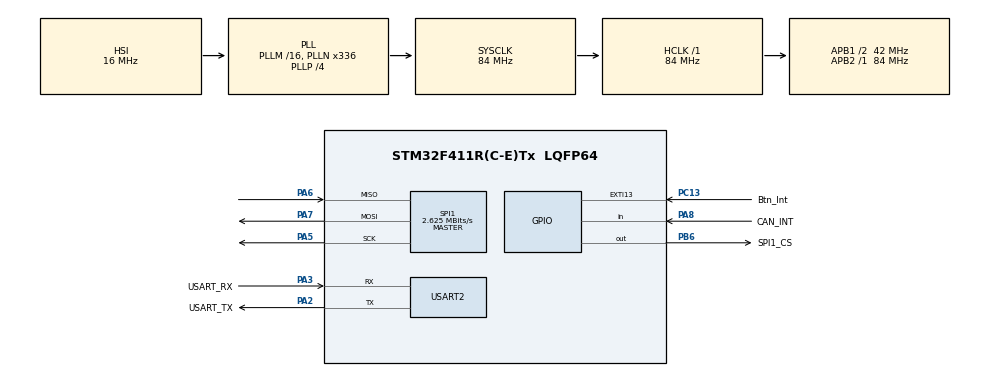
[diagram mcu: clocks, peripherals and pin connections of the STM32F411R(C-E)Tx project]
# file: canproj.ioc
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FREERTOS.INCLUDE_uxTaskGetStackHighWaterMark=1
FREERTOS.INCLUDE_vTaskDelayUntil=1
FREERTOS.Mutexes01=uartMutex,Dynamic,NULL,Available
FREERTOS.Tasks01=defaultTask,0,256,StartDefaultTask,Default,NULL,Dynamic,NULL,NULL;myTask02,1,512,StartTask02,Default,NULL,Dynamic,NULL,NULL;sdCardMsgPost,1,512,StartTask03,Default,NULL,Dynamic,NULL,NULL;messageAvailabl,1,256,StartTask04,Default,NULL,Dynamic,NULL,NULL
FREERTOS.configCHECK_FOR_STACK_OVERFLOW=2
FREERTOS.configUSE_MALLOC_FAILED_HOOK=1
FREERTOS.configUSE_NEWLIB_REENTRANT=1
Mcu.Family=STM32F4
Mcu.Name=STM32F411R(C-E)Tx
Mcu.Package=LQFP64
NVIC.EXTI15_10_IRQn=true\:5\:0\:false\:false\:true\:true\:true\:true\:true
NVIC.PriorityGroup=NVIC_PRIORITYGROUP_4
NVIC.TIM1_UP_TIM10_IRQn=true\:15\:0\:false\:false\:true\:false\:false\:true\:true
NVIC.TimeBase=TIM1_UP_TIM10_IRQn
NVIC.TimeBaseIP=TIM1
PA13.GPIO_Label=TMS
PA13.Mode=Serial_Wire
PA13.Signal=SYS_JTMS-SWDIO
PA14.GPIO_Label=TCK
PA14.Mode=Serial_Wire
PA14.Signal=SYS_JTCK-SWCLK
PA2.GPIO_Label=USART_TX
PA2.Mode=Asynchronous
PA2.Signal=USART2_TX
PA3.GPIO_Label=USART_RX
PA3.Mode=Asynchronous
PA3.Signal=USART2_RX
PA5.Mode=Full_Duplex_Master
PA5.Signal=SPI1_SCK
PA6.Mode=Full_Duplex_Master
PA6.Signal=SPI1_MISO
PA7.Mode=Full_Duplex_Master
PA7.Signal=SPI1_MOSI
PA8.GPIO_Label=CAN_INT
PA8.GPIO_PuPd=GPIO_PULLUP
PA8.Signal=GPIO_Input
PB3.GPIO_Label=SWO
PB3.Signal=SYS_JTDO-SWO
PB6.GPIO_Label=SPI1_CS
PB6.Signal=GPIO_Output
PC13-ANTI_TAMP.GPIO_Label=Btn_Int
PC13-ANTI_TAMP.GPIO_ModeDefaultEXTI=GPIO_MODE_IT_FALLING
PC13-ANTI_TAMP.GPIO_PuPd=GPIO_PULLUP
PC13-ANTI_TAMP.Signal=GPXTI13
PC14-OSC32_IN.Signal=RCC_OSC32_IN
PC15-OSC32_OUT.Signal=RCC_OSC32_OUT
PH0\ -\ OSC_IN.Mode=HSE-External-Oscillator
PH0\ -\ OSC_IN.Signal=RCC_OSC_IN
PH1\ -\ OSC_OUT.Mode=HSE-External-Oscillator
PH1\ -\ OSC_OUT.Signal=RCC_OSC_OUT
ProjectManager.HeapSize=0x200
ProjectManager.StackSize=0x400
ProjectManager.TargetToolchain=STM32CubeIDE
RCC.48MHZClocksFreq_Value=84000000
RCC.AHBFreq_Value=84000000
RCC.APB1CLKDivider=RCC_HCLK_DIV2
RCC.APB1Freq_Value=42000000
RCC.APB1TimFreq_Value=84000000
RCC.APB2Freq_Value=84000000
RCC.APB2TimFreq_Value=84000000
RCC.CortexFreq_Value=84000000
RCC.FLatency-AdvancedSettings=FLASH_LATENCY_2
RCC.HCLKFreq_Value=84000000
RCC.HSE_VALUE=8000000
RCC.HSI_VALUE=16000000
RCC.LSE_VALUE=32768
RCC.PLLN=336
RCC.PLLP=RCC_PLLP_DIV4
RCC.RCC_RTC_Clock_Source_FROM_HSE=RCC_RTCCLKSOURCE_HSE_DIV30
RCC.SYSCLKFreq_VALUE=84000000
RCC.SYSCLKSource=RCC_SYSCLKSOURCE_PLLCLK
RCC.VCOOutputFreq_Value=336000000
SPI1.BaudRatePrescaler=SPI_BAUDRATEPRESCALER_32
SPI1.CalculateBaudRate=2.625 MBits/s
SPI1.Direction=SPI_DIRECTION_2LINES
SPI1.Mode=SPI_MODE_MASTER
SPI1.VirtualType=VM_MASTER
USART2.VirtualMode=VM_ASYNC
VP_FREERTOS_VS_CMSIS_V1.Mode=CMSIS_V1
VP_RTC_VS_RTC_Activate.Mode=RTC_Enabled
VP_SYS_VS_tim1.Mode=TIM1
board=NUCLEO-F411RE

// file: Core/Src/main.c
/* USER CODE BEGIN Header */
//Yasir Ahmad
/**
  ******************************************************************************
  * @file           : main.c
  * @brief          : Main program body
  ******************************************************************************
  * @attention
  *
  * Copyright (c) 2024 STMicroelectronics.
  * All rights reserved.
  *
  * This software is licensed under terms that can be found in the LICENSE file
  * in the root directory of this software component.
  * If no LICENSE file comes with this software, it is provided AS-IS.
  *
  ******************************************************************************
  */
/* USER CODE END Header */
#include "main.h"
#include "cmsis_os.h"

/* USER CODE BEGIN Includes */
#include <stdio.h>
#include <stdbool.h>
#include "queue.h"
#include <string.h>
#include "event_groups.h"

/* USER CODE END Includes */

/* USER CODE BEGIN PD */
#define SPI1_CS_LOW()  HAL_GPIO_WritePin(GPIOB, GPIO_PIN_6, GPIO_PIN_RESET)
#define SPI1_CS_HIGH() HAL_GPIO_WritePin(GPIOB, GPIO_PIN_6, GPIO_PIN_SET)
#define EVENT_BIT_0 (1 << 0)
#define EVENT_BIT_3 (1 << 3)
#define EVENT_BIT_2 (1 << 2)
#define EVENT_BIT_1 (1 << 1)

/* USER CODE END PD */

RTC_HandleTypeDef hrtc;

SPI_HandleTypeDef hspi1;

UART_HandleTypeDef huart2;

osThreadId defaultTaskHandle;
osThreadId myTask02Handle;
osThreadId sdCardMsgPostHandle;
osThreadId messageAvailablHandle;
osMutexId uartMutexHandle;
/* USER CODE BEGIN PV */

EventGroupHandle_t messageToRead;
static StaticTask_t xTimerTaskTCB;
static StackType_t xTimerStack[configTIMER_TASK_STACK_DEPTH];
uint16_t counter = 0;

/* USER CODE END PV */

void SystemClock_Config(void);
static void MX_GPIO_Init(void);
static void MX_USART2_UART_Init(void);
static void MX_SPI1_Init(void);
static void MX_RTC_Init(void);
void StartDefaultTask(void const * argument);
void StartTask02(void const * argument);
void StartTask03(void const * argument);
void StartTask04(void const * argument);

/* USER CODE BEGIN PFP */

//needed for xEventGroupSetBitsFromISR access
void vApplicationGetTimerTaskMemory(StaticTask_t **ppxTimerTaskTCBBuffer,
                                    StackType_t **ppxTimerTaskStackBuffer,
                                    uint32_t *pulTimerTaskStackSize)
{
    *ppxTimerTaskTCBBuffer = &xTimerTaskTCB;              // Provide TCB memory
    *ppxTimerTaskStackBuffer = xTimerStack;               // Provide stack memory
    *pulTimerTaskStackSize = configTIMER_TASK_STACK_DEPTH; // Provide stack size
}

/* USER CODE END PFP */

/* USER CODE BEGIN 0 */

/******QUEUE HANDLER********/
xQueueHandle MessageQueueHandle;

///*****Task Handler******/
//xTaskHandle defaultTaskHandle;
//xTaskHandle myTask02Handle;
//xTaskHandle sdCardMsgPostHandle;
//xTaskHandle messageAvailablHandle;

/* USER CODE END 0 */

int main(void)
{

  /* MCU Configuration--------------------------------------------------------*/

  /* Reset of all peripherals, Initializes the Flash interface and the Systick. */
  HAL_Init();

  /* Configure the system clock */
  SystemClock_Config();

  /* Initialize all configured peripherals */
  MX_GPIO_Init();
  MX_USART2_UART_Init();
  MX_SPI1_Init();
  MX_RTC_Init();

  /* Create the mutex(es) */
  /* definition and creation of uartMutex */
  osMutexDef(uartMutex);
  uartMutexHandle = osMutexCreate(osMutex(uartMutex));

  /* USER CODE BEGIN RTOS_TIMERS */
  messageToRead = xEventGroupCreate();
  /* USER CODE END RTOS_TIMERS */

  /* USER CODE BEGIN RTOS_QUEUES */
  MessageQueueHandle = xQueueCreate(3, sizeof(MessageCAN*));

  if (MessageQueueHandle == 0){
	  print("Error Creating Queue");
	  Error_Handler();
  }
  /* USER CODE END RTOS_QUEUES */

  /* Create the thread(s) */
  /* definition and creation of defaultTask */
  osThreadDef(defaultTask, StartDefaultTask, osPriorityNormal, 0, 256);
  defaultTaskHandle = osThreadCreate(osThread(defaultTask), NULL);

  /* definition and creation of myTask02 */
  osThreadDef(myTask02, StartTask02, osPriorityAboveNormal, 0, 512);
  myTask02Handle = osThreadCreate(osThread(myTask02), NULL);

  /* definition and creation of sdCardMsgPost */
  osThreadDef(sdCardMsgPost, StartTask03, osPriorityAboveNormal, 0, 512);
  sdCardMsgPostHandle = osThreadCreate(osThread(sdCardMsgPost), NULL);

  /* definition and creation of messageAvailabl */
  osThreadDef(messageAvailabl, StartTask04, osPriorityAboveNormal, 0, 256);
  messageAvailablHandle = osThreadCreate(osThread(messageAvailabl), NULL);

  /* USER CODE BEGIN RTOS_THREADS */
  print("MCP2515 init Started");
  mcp2515init();
  TimeInit();
  print("Program Started");  /* USER CODE END RTOS_THREADS */

  /* Start scheduler */
  osKernelStart();

  /* We should never get here as control is now taken by the scheduler */

  /* Infinite loop */
  while (1)
  {

  }
}

void SystemClock_Config(void)
{
  RCC_OscInitTypeDef RCC_OscInitStruct = {0};
  RCC_ClkInitTypeDef RCC_ClkInitStruct = {0};

  /** Configure the main internal regulator output voltage
  */
  __HAL_RCC_PWR_CLK_ENABLE();
  __HAL_PWR_VOLTAGESCALING_CONFIG(PWR_REGULATOR_VOLTAGE_SCALE1);

  /** Initializes the RCC Oscillators according to the specified parameters
  * in the RCC_OscInitTypeDef structure.
  */
  RCC_OscInitStruct.OscillatorType = RCC_OSCILLATORTYPE_HSI|RCC_OSCILLATORTYPE_LSI;
  RCC_OscInitStruct.HSIState = RCC_HSI_ON;
  RCC_OscInitStruct.HSICalibrationValue = RCC_HSICALIBRATION_DEFAULT;
  RCC_OscInitStruct.LSIState = RCC_LSI_ON;
  RCC_OscInitStruct.PLL.PLLState = RCC_PLL_ON;
  RCC_OscInitStruct.PLL.PLLSource = RCC_PLLSOURCE_HSI;
  RCC_OscInitStruct.PLL.PLLM = 16;
  RCC_OscInitStruct.PLL.PLLN = 336;
  RCC_OscInitStruct.PLL.PLLP = RCC_PLLP_DIV4;
  RCC_OscInitStruct.PLL.PLLQ = 4;
  if (HAL_RCC_OscConfig(&RCC_OscInitStruct) != HAL_OK)
  {
    Error_Handler();
  }

  /** Initializes the CPU, AHB and APB buses clocks
  */
  RCC_ClkInitStruct.ClockType = RCC_CLOCKTYPE_HCLK|RCC_CLOCKTYPE_SYSCLK
                              |RCC_CLOCKTYPE_PCLK1|RCC_CLOCKTYPE_PCLK2;
  RCC_ClkInitStruct.SYSCLKSource = RCC_SYSCLKSOURCE_PLLCLK;
  RCC_ClkInitStruct.AHBCLKDivider = RCC_SYSCLK_DIV1;
  RCC_ClkInitStruct.APB1CLKDivider = RCC_HCLK_DIV2;
  RCC_ClkInitStruct.APB2CLKDivider = RCC_HCLK_DIV1;

  if (HAL_RCC_ClockConfig(&RCC_ClkInitStruct, FLASH_LATENCY_2) != HAL_OK)
  {
    Error_Handler();
  }
}

static void MX_RTC_Init(void)
{

  /** Initialize RTC Only
  */
  hrtc.Instance = RTC;
  hrtc.Init.HourFormat = RTC_HOURFORMAT_24;
  hrtc.Init.AsynchPrediv = 127;
  hrtc.Init.SynchPrediv = 255;
  hrtc.Init.OutPut = RTC_OUTPUT_DISABLE;
  hrtc.Init.OutPutPolarity = RTC_OUTPUT_POLARITY_HIGH;
  hrtc.Init.OutPutType = RTC_OUTPUT_TYPE_OPENDRAIN;
  if (HAL_RTC_Init(&hrtc) != HAL_OK)
  {
    Error_Handler();
  }

}

static void MX_SPI1_Init(void)
{

  /* SPI1 parameter configuration*/
  hspi1.Instance = SPI1;
  hspi1.Init.Mode = SPI_MODE_MASTER;
  hspi1.Init.Direction = SPI_DIRECTION_2LINES;
  hspi1.Init.DataSize = SPI_DATASIZE_8BIT;
  hspi1.Init.CLKPolarity = SPI_POLARITY_LOW;
  hspi1.Init.CLKPhase = SPI_PHASE_1EDGE;
  hspi1.Init.NSS = SPI_NSS_SOFT;
  hspi1.Init.BaudRatePrescaler = SPI_BAUDRATEPRESCALER_32;
  hspi1.Init.FirstBit = SPI_FIRSTBIT_MSB;
  hspi1.Init.TIMode = SPI_TIMODE_DISABLE;
  hspi1.Init.CRCCalculation = SPI_CRCCALCULATION_DISABLE;
  hspi1.Init.CRCPolynomial = 10;
  if (HAL_SPI_Init(&hspi1) != HAL_OK)
  {
    Error_Handler();
  }

}

static void MX_USART2_UART_Init(void)
{

  huart2.Instance = USART2;
  huart2.Init.BaudRate = 115200;
  huart2.Init.WordLength = UART_WORDLENGTH_8B;
  huart2.Init.StopBits = UART_STOPBITS_1;
  huart2.Init.Parity = UART_PARITY_NONE;
  huart2.Init.Mode = UART_MODE_TX_RX;
  huart2.Init.HwFlowCtl = UART_HWCONTROL_NONE;
  huart2.Init.OverSampling = UART_OVERSAMPLING_16;
  if (HAL_UART_Init(&huart2) != HAL_OK)
  {
    Error_Handler();
  }

}

static void MX_GPIO_Init(void)
{
  GPIO_InitTypeDef GPIO_InitStruct = {0};

  /* GPIO Ports Clock Enable */
  __HAL_RCC_GPIOC_CLK_ENABLE();
  __HAL_RCC_GPIOH_CLK_ENABLE();
  __HAL_RCC_GPIOA_CLK_ENABLE();
  __HAL_RCC_GPIOB_CLK_ENABLE();

  /*Configure GPIO pin Output Level */
  HAL_GPIO_WritePin(SPI1_CS_GPIO_Port, SPI1_CS_Pin, GPIO_PIN_RESET);

  /*Configure GPIO pin : Btn_Int_Pin */
  GPIO_InitStruct.Pin = Btn_Int_Pin;
  GPIO_InitStruct.Mode = GPIO_MODE_IT_FALLING;
  GPIO_InitStruct.Pull = GPIO_PULLUP;
  HAL_GPIO_Init(Btn_Int_GPIO_Port, &GPIO_InitStruct);

  /*Configure GPIO pin : CAN_INT_Pin */
  GPIO_InitStruct.Pin = CAN_INT_Pin;
  GPIO_InitStruct.Mode = GPIO_MODE_INPUT;
  GPIO_InitStruct.Pull = GPIO_PULLUP;
  HAL_GPIO_Init(CAN_INT_GPIO_Port, &GPIO_InitStruct);

  /*Configure GPIO pin : SPI1_CS_Pin */
  GPIO_InitStruct.Pin = SPI1_CS_Pin;
  GPIO_InitStruct.Mode = GPIO_MODE_OUTPUT_PP;
  GPIO_InitStruct.Pull = GPIO_NOPULL;
  GPIO_InitStruct.Speed = GPIO_SPEED_FREQ_LOW;
  HAL_GPIO_Init(SPI1_CS_GPIO_Port, &GPIO_InitStruct);

  /* EXTI interrupt init*/
  HAL_NVIC_SetPriority(EXTI15_10_IRQn, 5, 0);
  HAL_NVIC_EnableIRQ(EXTI15_10_IRQn);

/* USER CODE BEGIN MX_GPIO_Init_2 */
  HAL_GPIO_WritePin(GPIOB, GPIO_PIN_6, GPIO_PIN_SET);

/* USER CODE END MX_GPIO_Init_2 */
}

/* USER CODE BEGIN 4 */

void LogStackUsage(const char* taskName, osThreadId thread_id) {
	/**
	  * @brief Monitors and logs the remaining stack of a given task.
	  * @param taskName   Name to identify the task in logs
	  * @param thread_id  CMSIS-RTOS thread ID (cast to FreeRTOS handle)
	  * @retval None
	  */

    // Cast CMSIS-RTOS thread ID to FreeRTOS TaskHandle_t
    TaskHandle_t freertosTaskHandle = (TaskHandle_t)thread_id;

    // Get the high water mark (minimum unused stack) in words
    UBaseType_t highWaterMark = uxTaskGetStackHighWaterMark(freertosTaskHandle);

    // Convert remaining stack from words to bytes
    uint32_t remainingStackBytes = highWaterMark * sizeof(StackType_t);

    // Prepare the log message
    char *buffer;
    buffer = pvPortMalloc(100 * (sizeof(char)));
    sprintf(buffer, "%s Remaining Stack: %lu bytes", taskName, (unsigned long)remainingStackBytes);
    vPortFree(buffer);

    // Log via UART
    print(buffer);
}

/* Define the Heap Monitor Task */
void HeapMonitorTask(void)
{
	/**
	  * @brief Periodically logs free and minimum-ever free heap to UART.
	  * @param None
	  * @retval None
	  */

        size_t freeHeap = xPortGetFreeHeapSize();
        size_t minFreeHeap = xPortGetMinimumEverFreeHeapSize();
        //size_t totalHeap = xPortGetTotalHeapSize();

        char buffer[100];
        sprintf(buffer, "Heap: Free %lu bytes, Min Free %lu bytes\r\n",
                (unsigned long)freeHeap,
                (unsigned long)minFreeHeap);
        print(buffer);
}

void vApplicationStackOverflowHook(xTaskHandle xTask, signed char *pcTaskName)
{
   print("Stack Overflow");
}

void vApplicationMallocFailedHook(void)
{
   print("Malloc Failed");
}

void print(const char* buffer) {
	/**
	  * @brief Prints a null-terminated string with CR+LF over UART under mutex.
	  * @param msg  Pointer to C-string to send
	  * @retval None
	  */

    // Calculate the string length
	if (osMutexWait(uartMutexHandle, osWaitForever) == osOK){
    size_t length = strlen(buffer);

    // add space for the new line and carriage return
    char tempBuffer[length + 3]; // Original string + '\r' + '\n' + null terminator

    // Copy the original string into the temp buffer
    strcpy(tempBuffer, buffer);

    // Append the new line and carriage return
    tempBuffer[length] = '\r';
    tempBuffer[length + 1] = '\n';
    tempBuffer[length + 2] = '\0';

    // transmit the modified string UART
    HAL_UART_Transmit(&huart2, (uint8_t*)tempBuffer, strlen(tempBuffer), 100);
    osMutexRelease(uartMutexHandle);
	}

}

void mcp2515writeRegister(uint8_t address, uint8_t data){
	/**
	  * @brief  Writes a byte to an MCP2515 register over SPI.
	  * @param  address  Register address
	  * @param  data     Byte to write
	  * @retval None
	  */

	uint8_t txBuffer[3] = {0x02, address, data};

	SPI1_CS_LOW();
	HAL_SPI_Transmit(&hspi1, txBuffer, sizeof(txBuffer), 100);
	SPI1_CS_HIGH();
}

uint8_t mcp2515readRegister(uint8_t address){
	/**
	  * @brief  Reads a byte from an MCP2515 register over SPI.
	  * @param  address  Register address
	  * @retval uint8_t  Register value
	  */

	uint8_t txBuffer[3] = {0x03, address, 0xFF};
	uint8_t rxBuffer[3] = {0};

	HAL_StatusTypeDef status;

	SPI1_CS_LOW();
    status = HAL_SPI_TransmitReceive(&hspi1, txBuffer, rxBuffer, sizeof(txBuffer), 100);
	SPI1_CS_HIGH();

	if(status != HAL_OK){

		Error_Handler();
	}
	return rxBuffer[2];
}

void TimeInit(void){
	/**
	  * @brief  Sets RTC time to 00:00:00.
	  * @param  None
	  * @retval None
	  */

	RTC_TimeTypeDef sTime = {0};
	sTime.Hours = 0;
	sTime.Minutes = 0;
	sTime.Seconds = 0;
	sTime.SubSeconds = 0;

	if(HAL_RTC_SetTime(&hrtc, &sTime, RTC_FORMAT_BIN) != HAL_OK){
		Error_Handler();
	}
}

uint32_t Timestamp(void) {
	/**
	  * @brief  Retrieves a millisecond timestamp since midnight from the RTC.
	  * @param  None
	  * @retval uint32_t  Time in ms since midnight
	  */

    RTC_TimeTypeDef sTime = {0};
    RTC_DateTypeDef sDate = {0};
    uint32_t timeValue = 0;

    // Retrieve time from RTC
    if (HAL_RTC_GetTime(&hrtc, &sTime, RTC_FORMAT_BIN) == HAL_OK) {

        uint32_t SubSeconds = sTime.SubSeconds;
		uint32_t Predivider = hrtc.Init.SynchPrediv; // Predivider value set in RTC config

		// Calculate milliseconds
		timeValue = (sTime.Hours * 3600000)+ (sTime.Minutes * 60000)+(sTime.Seconds * 1000) +
				   (((Predivider - SubSeconds) * 1000) / (Predivider + 1));
    }

    HAL_RTC_GetDate(&hrtc, &sDate, RTC_FORMAT_BIN);

    return timeValue;
}

void mcp2515setTiming(void){
	// Calculate CNF1, CNF2, CNF3 using the MCP2515 datasheet
	mcp2515writeRegister(0x2A, 0x00); // CNF1: SJW=1, BRP=0
	mcp2515writeRegister(0x29, 0x90); // CNF2: BTLMODE=1, SAM=0, PHSEG1=3, PRSEG=1
	mcp2515writeRegister(0x28, 0x02); // CNF3: SOF=0, WAKFIL=0, PHSEG2=3
}

void mcp2515normalMode(void){

	mcp2515readRegister(0x0F);

}

void mcp2515init(void){
	/**
	  * @brief  Initializes the MCP2515 CAN controller to normal mode.
	  * @param  None
	  * @retval None
	  */

	uint8_t resetOP[1] = {0xC0};
	uint8_t status = 0;
	SPI1_CS_HIGH();
	HAL_Delay(10);

	mcp2515setTiming();

	//Transmission to reset device
	SPI1_CS_LOW();
	HAL_SPI_Transmit(&hspi1, resetOP, sizeof(resetOP), 100);
	SPI1_CS_HIGH();

	HAL_Delay(1);
	//Set to configuration Mode
	mcp2515writeRegister(0x0F,0x80);

	//Read back to confirm config mode
	uint8_t configResult = mcp2515readRegister(0x0E);

	if (configResult != 0x80){
		Error_Handler();

	}
	//Write into the receive 0 buffer to receive any message coming through
	mcp2515writeRegister(0x60, 0x60);

	uint8_t	buffer0ConfigResult = mcp2515readRegister(0x60);

	if (buffer0ConfigResult != 0x60){
		//Error_Handler();
	}
//	if (configResult != 0x80){
//
//			Error_Handler();
//		}

	//Set register to accept any message

	HAL_Delay(10);
	//Write CAN status register into Normal Operation mode
	mcp2515writeRegister(0x0F,0x00);
	HAL_Delay(10);

	//Read CAN status register to confirm normal operation mode
	uint8_t resultAfter = mcp2515readRegister(0x0E);

	if (resultAfter != 0x00){
		Error_Handler();
	}

	HAL_Delay (10);
}

void mcp2515messageAvailable(void){

	/**
	  * @brief  Activates MCP2515 Int pin, reenacts message coming in (HIL).
	  * Polls the MCP2515 interrupt pin, sets the appropriate interrupt flag
	  * register when a message is available in RX buffer 0.
	  * @param  None
	  * @retval None
	  */

	GPIO_PinState status;
	GPIO_PinState status1;

	status = HAL_GPIO_ReadPin(CAN_INT_GPIO_Port, CAN_INT_Pin);
	//Set the Interrupt flag from the RX0IF
	mcp2515writeRegister(0x2B, 0x01);

	//read the result from the Interrupt enable register at RX0IE
	uint8_t result = mcp2515readRegister(0x2B);
	result = mcp2515readRegister(0x0C);
	mcp2515writeRegister(0x2C, 0x01);

	if (result != 0x01){
		//Error_Handler();
	}

	status1 = HAL_GPIO_ReadPin(CAN_INT_GPIO_Port, CAN_INT_Pin);

}

void mcp2515readMessage(bool random, uint8_t fixedData){

	/**
	  * @brief  Reads a CAN message from the MCP2515, allocates a MessageCAN struct,
	  *         and enqueues it. Signals queue‐full via event on overflow.
	  * @param  random     If true, generate pseudo‐random payload; otherwise use fixedData.
	  * @param  fixedData  Byte of data to use when random == false.
	  * @retval None
	  */

	//Sanity check for GPIO pin
	GPIO_PinState status = HAL_GPIO_ReadPin(CAN_INT_GPIO_Port, CAN_INT_Pin);

	if (status == GPIO_PIN_RESET){
		uint8_t readRXB0[1] = {0x90};
		uint8_t RXB0Buffer[14] = {0};
		uint16_t RXB0Data[1] = {0};

		//Clear RXB0
		mcp2515writeRegister(0x2C, 0x00);

		SPI1_CS_LOW();
		HAL_SPI_Transmit(&hspi1, readRXB0, 1, 100);
		HAL_SPI_Receive(&hspi1, RXB0Buffer, 14, 100);
		SPI1_CS_HIGH();

		//Returns data of the message, can be random or fixed for testing
		if (random == true){
			RXB0Data[0] = rand() % (255);
		}
		else{

			RXB0Data[0] = fixedData;
		}

		uint32_t timestamp = Timestamp();
		counter += 1;

		//Create Pointer to the MessageCAN Struct
		MessageCAN *ptrToStruct;

		ptrToStruct = pvPortMalloc(sizeof(MessageCAN)); //Returns Object not address
		if (ptrToStruct == NULL) {
		    print("Memory allocation failed for can msg");
		    Error_Handler();
		}

		ptrToStruct->canID = 0x35;
		ptrToStruct->data = RXB0Data[0];  //DOES NOT DECAY TO POINTER because of [0]
		ptrToStruct->timeStamp = timestamp;
		ptrToStruct->sensorName = "Temp Sensor";

		//Send to QUeue
		if (xQueueSend(MessageQueueHandle, &ptrToStruct, portMAX_DELAY) == pdPASS)
		{
			print("Message in Queue");
		}
		else{

			vPortFree(ptrToStruct);
			print("Failed to put message in Queue");
		}

		uint32_t MsgInQueue = uxQueueSpacesAvailable(MessageQueueHandle);

		char *ptr;
		ptr = pvPortMalloc(100 * sizeof(char));
		if (ptr == NULL) {
				    print("Memory allocation failed for msg in queue number");
				    Error_Handler();
				}
		sprintf(ptr, "Number of spaces in Queue: %u", MsgInQueue);
		print(ptr);
		vPortFree(ptr);
		ptr = NULL;

		if (MsgInQueue == 0){    //

			print("Queue is Full");
			xEventGroupSetBits(messageToRead, EVENT_BIT_3);
			osThreadYield();
		}
	}

	//If no message buffer, should not happen
	else{
		print("no message in buffer, should not happen error");
		Error_Handler();
	}

}

void sdCardMsgPost(void){
	/**
	  * @brief  Flushes all MessageCAN structs from the queue and posts them to the SD
	  *         card (or UART). Frees each message’s heap allocation afterwards.
	  * @param  None
	  * @retval None
	  */

	if (uxQueueSpacesAvailable(MessageQueueHandle) == 0){

		MessageCAN *ptrToRxMsg;
		char *ptr;

		print("In SD Msg post function");

		uint8_t numberOfMessages = uxQueueMessagesWaiting(MessageQueueHandle);

		//while(uxQueueMessagesWaiting(MessageQueueHandle) != 0)
		for(int i = 0; i < numberOfMessages; i++){
			if (xQueueReceive(MessageQueueHandle, &ptrToRxMsg, portMAX_DELAY) == pdPASS ){

				ptr = pvPortMalloc(100 * sizeof(char));
				if (ptr == NULL) {
							print("Memory allocation failed for sd card msg");
							Error_Handler();
				}
				if (i < 3){
				sprintf (ptr, "Received Data: %u at Time: %lu from %s", ptrToRxMsg->data, ptrToRxMsg->timeStamp, ptrToRxMsg->sensorName);
				print(ptr);
				vPortFree(ptr);
				vPortFree(ptrToRxMsg);
				}
			}
		}
	}
}

void sdCardSpiTransmission(void){
	//TODO: ParellelWork
	//Function to take in the buffer and transmit through SPI
	//Need to use an SPI mutex for multiple SPI operations
	return;
}

void HAL_GPIO_EXTI_Callback(uint16_t GPIO_Pin)
{
	UNUSED(GPIO_Pin);
	BaseType_t xHigherPriorityTaskWoken = pdFALSE;
	xEventGroupSetBitsFromISR(messageToRead, EVENT_BIT_1, &xHigherPriorityTaskWoken);
}

/* USER CODE END 4 */

void StartDefaultTask(void const * argument)
{

  /* USER CODE BEGIN 5 */
  /* Infinite loop */
  for(;;)
  {
    //print("Idle Task");
    //LogStackUsage("Idle Task", defaultTaskHandle);
    HeapMonitorTask();
    osDelay(1000);

  }
  /* USER CODE END 5 */
}

void StartTask02(void const * argument)
{
  /* USER CODE BEGIN StartTask02 */
  /* Infinite loop */
  for(;;)
  {
	  //print("Task 2 Entered");
	  EventBits_t uxBits = xEventGroupWaitBits(messageToRead, EVENT_BIT_2, pdTRUE, pdTRUE, portMAX_DELAY);
	  print("Task Started");
      mcp2515readMessage(false, 100);
      EventBits_t currentBits = xEventGroupGetBits(messageToRead);  //DEBUG
      LogStackUsage("Read Message Task", myTask02Handle);
  }
  /* USER CODE END StartTask02 */
}

void StartTask03(void const * argument)
{
  /* USER CODE BEGIN StartTask03 */
  /* Infinite loop */
  for(;;)
  {
	 //print("Task 3 Entered");
	 EventBits_t uxBits = xEventGroupWaitBits(messageToRead, EVENT_BIT_3, pdTRUE, pdTRUE, portMAX_DELAY); //Or change to IF QueueFull == true then ELSE osYield();
	 taskENTER_CRITICAL();
	 print("Task 3 Started");
	 sdCardMsgPost();
	 xEventGroupSetBits(messageToRead, EVENT_BIT_0);
	 EventBits_t currentBits = xEventGroupGetBits(messageToRead);
	 if (currentBits == 0x04){
		 print("Bits not reset for event flag");
		 Error_Handler();
	 }
     LogStackUsage("SD Card message Post", sdCardMsgPostHandle);
     taskEXIT_CRITICAL();
  }
  /* USER CODE END StartTask03 */
}

void StartTask04(void const * argument)
{
  /* USER CODE BEGIN StartTask04 */
  /* Infinite loop */
  for(;;)
  {
	  EventBits_t uxBits = xEventGroupWaitBits(messageToRead, EVENT_BIT_1, pdTRUE, pdTRUE, portMAX_DELAY);
	  print("Task 4 started");
	  mcp2515messageAvailable();
	  EventBits_t currentBits = xEventGroupGetBits(messageToRead);
	  uxBits = xEventGroupSetBits(messageToRead, EVENT_BIT_2);
	  currentBits = xEventGroupGetBits(messageToRead);
      LogStackUsage("Avialable Message Task", messageAvailablHandle);
	  osDelay(50);
  }
  /* USER CODE END StartTask04 */
}

void HAL_TIM_PeriodElapsedCallback(TIM_HandleTypeDef *htim)
{
  if (htim->Instance == TIM1) {
    HAL_IncTick();
  }
}

void Error_Handler(void)
{
  __disable_irq();
  while (1)
  {
  }
}

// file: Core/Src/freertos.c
/* USER CODE BEGIN Header */
/**
  ******************************************************************************
  * File Name          : freertos.c
  * Description        : Code for freertos applications
  ******************************************************************************
  * @attention
  *
  * Copyright (c) 2024 STMicroelectronics.
  * All rights reserved.
  *
  * This software is licensed under terms that can be found in the LICENSE file
  * in the root directory of this software component.
  * If no LICENSE file comes with this software, it is provided AS-IS.
  *
  ******************************************************************************
  */
/* USER CODE END Header */

#include "FreeRTOS.h"
#include "task.h"
#include "main.h"

/* GetIdleTaskMemory prototype (linked to static allocation support) */
void vApplicationGetIdleTaskMemory( StaticTask_t **ppxIdleTaskTCBBuffer, StackType_t **ppxIdleTaskStackBuffer, uint32_t *pulIdleTaskStackSize );

/* Hook prototypes */
void vApplicationStackOverflowHook(xTaskHandle xTask, signed char *pcTaskName);
void vApplicationMallocFailedHook(void);

/* USER CODE BEGIN 4 */
__weak void vApplicationStackOverflowHook(xTaskHandle xTask, signed char *pcTaskName)
{
   /* Run time stack overflow checking is performed if
   configCHECK_FOR_STACK_OVERFLOW is defined to 1 or 2. This hook function is
   called if a stack overflow is detected. */
}
/* USER CODE END 4 */

/* USER CODE BEGIN 5 */
__weak void vApplicationMallocFailedHook(void)
{
   /* vApplicationMallocFailedHook() will only be called if
   configUSE_MALLOC_FAILED_HOOK is set to 1 in FreeRTOSConfig.h. It is a hook
   function that will get called if a call to pvPortMalloc() fails.
   pvPortMalloc() is called internally by the kernel whenever a task, queue,
   timer or semaphore is created. It is also called by various parts of the
   demo application. If heap_1.c or heap_2.c are used, then the size of the
   heap available to pvPortMalloc() is defined by configTOTAL_HEAP_SIZE in
   FreeRTOSConfig.h, and the xPortGetFreeHeapSize() API function can be used
   to query the size of free heap space that remains (although it does not
   provide information on how the remaining heap might be fragmented). */
}
/* USER CODE END 5 */

/* USER CODE BEGIN GET_IDLE_TASK_MEMORY */
static StaticTask_t xIdleTaskTCBBuffer;
static StackType_t xIdleStack[configMINIMAL_STACK_SIZE];

void vApplicationGetIdleTaskMemory( StaticTask_t **ppxIdleTaskTCBBuffer, StackType_t **ppxIdleTaskStackBuffer, uint32_t *pulIdleTaskStackSize )
{
  *ppxIdleTaskTCBBuffer = &xIdleTaskTCBBuffer;
  *ppxIdleTaskStackBuffer = &xIdleStack[0];
  *pulIdleTaskStackSize = configMINIMAL_STACK_SIZE;
  /* place for user code */
}
/* USER CODE END GET_IDLE_TASK_MEMORY */
